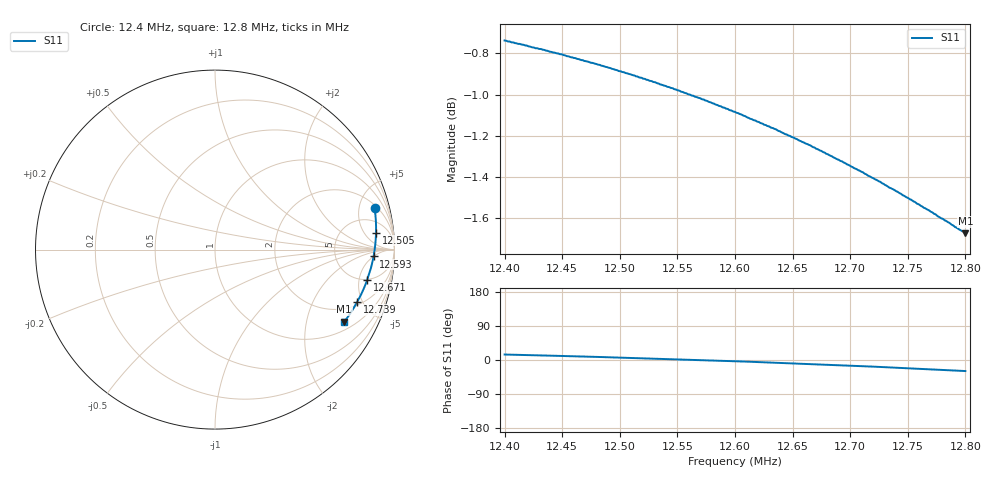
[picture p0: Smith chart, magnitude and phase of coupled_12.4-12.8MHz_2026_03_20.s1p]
# HZ S RI R 50
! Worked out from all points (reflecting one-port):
!   401 points, 12.4 MHz to 12.8 MHz, reference 50 ohm
!   lowest |S11| = -1.7 dB at 12.8 MHz (marker M1), VSWR 10.40, Z = 66.7 - j168 ohm
!   phase of S11 starts at 14 deg and turns -44 deg over the sweep
!   S11 on the Smith chart (normalised r, x): 12.4 MHz: 2.41, +7.08; 12.505 MHz: 10, +10; 12.593 MHz: 15, -5; 12.671 MHz: 4.89, -6.54; 12.739 MHz: 2.25, -4.57; 12.8 MHz: 1.33, -3.35
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1.24e7  0.8895 0.2294
1.2402e7  0.8898 0.2272
1.2425e7  0.8931 0.1994
1.2439e7  0.8945 0.1822
1.245e7  0.8958 0.1681
1.247e7  0.8969 0.142
1.2481e7  0.8973 0.1274
1.25e7  0.8973 0.1014
1.2505e7  0.8971 0.0943
1.2529e7  0.8955 0.0601
1.255e7  0.8929 0.029
1.2571e7  0.889 -0.00326
1.2593e7  0.8833 -0.038
1.26e7  0.8813 -0.0491
1.2607e7  0.8788 -0.0605
1.2628e7  0.8705 -0.0951
1.265e7  0.8601 -0.1324
1.2671e7  0.8479 -0.1689
1.2683e7  0.84 -0.1901
1.27e7  0.8276 -0.2199
1.2709e7  0.8204 -0.2364
1.2722e7  0.8092 -0.2595
1.2739e7  0.7931 -0.2906
1.275e7  0.7817 -0.3107
1.277e7  0.7591 -0.3471
1.2785e7  0.7402 -0.375
1.2798e7  0.723 -0.3983
1.28e7  0.72 -0.4019
